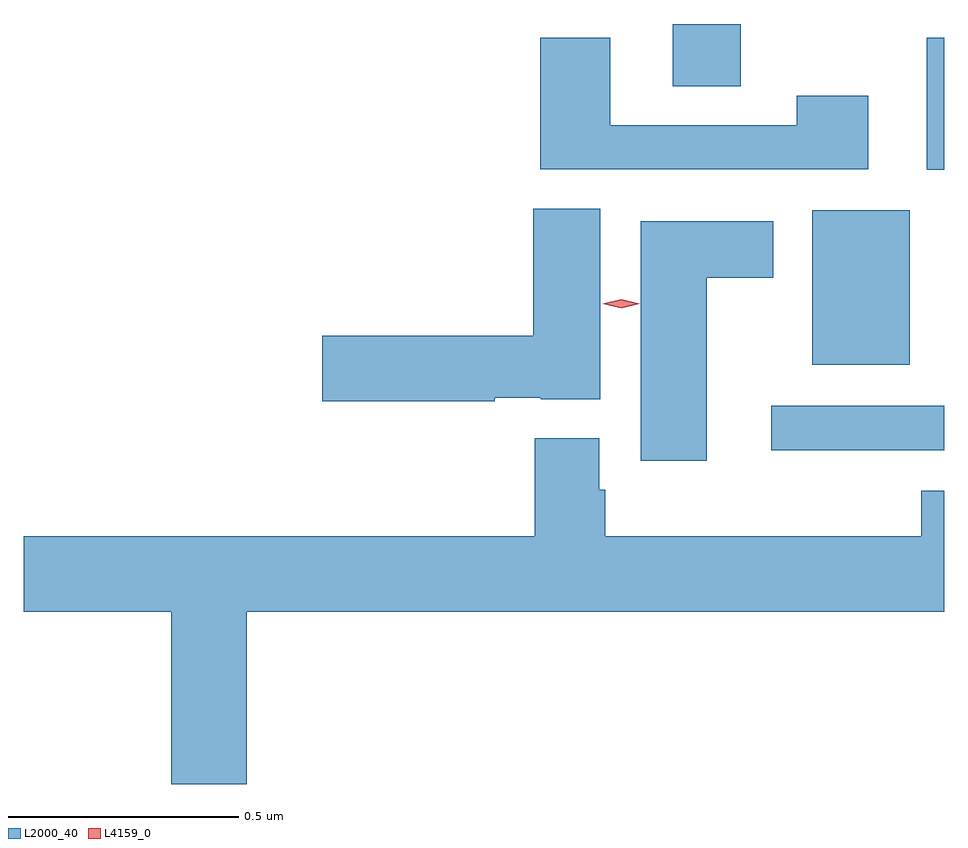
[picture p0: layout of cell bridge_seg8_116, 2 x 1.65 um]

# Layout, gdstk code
import gdstk
lib = gdstk.Library(unit=1e-6, precision=1e-09)
def R(c, l, rs):  # rectangles x0, y0, x1, y1
    for r in rs: c.add(gdstk.rectangle(r[:2], r[2:], *l))
def P(c, l, *ps):  # polygons
    for p in ps: c.add(gdstk.Polygon(p, *l))
L2000_40 = (2000, 40)
L4159_0 = (4159, 0)

bridge_seg8_116 = lib.new_cell('bridge_seg8_116')
R(bridge_seg8_116, L2000_40, [(849.627,1156.811,850.003,1156.908), (849.716,1156.997,849.928,1157.332), (849.965,1157.42,850.003,1157.707), (849.413,1157.602,849.561,1157.737)])
P(bridge_seg8_116, L2000_40, [(849.838,1157.581),(849.682,1157.581),(849.682,1157.517),(849.277,1157.517),(849.277,1157.707),(849.125,1157.707),(849.125,1157.421),(849.838,1157.421)],
  [(849.026,1156.925),(849.126,1156.925),(849.126,1156.922),(849.256,1156.922),(849.256,1157.336),(849.11,1157.336),(849.11,1157.06),(848.652,1157.06),(848.652,1156.918),(849.026,1156.918)],
  [(849.487,1157.186),(849.631,1157.186),(849.631,1157.308),(849.344,1157.308),(849.344,1156.788),(849.487,1156.788)],
  [(848.488,1156.46),(850.003,1156.46),(850.003,1156.723),(849.953,1156.723),(849.953,1156.624),(849.266,1156.624),(849.266,1156.725),(849.253,1156.725),(849.253,1156.837),(849.113,1156.837),(849.113,1156.624),(848.003,1156.624),(848.003,1156.46),(848.324,1156.46),(848.324,1156.086),(848.488,1156.086)])
P(bridge_seg8_116, L4159_0, [(849.301,1157.119),(849.261,1157.129),(849.261,1157.129),(849.261,1157.129),(849.301,1157.139),(849.341,1157.129),(849.341,1157.129),(849.341,1157.129)])

lib.write_gds('bridge_seg8_116.gds')
